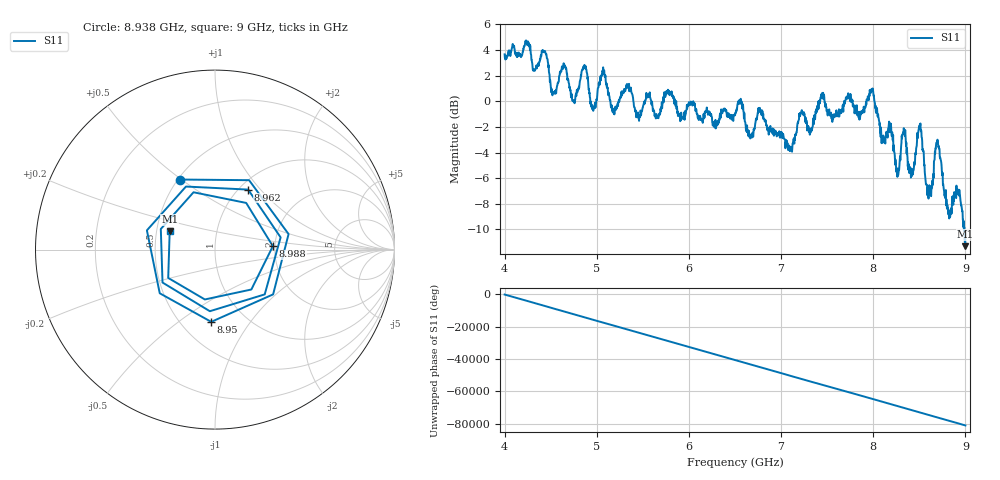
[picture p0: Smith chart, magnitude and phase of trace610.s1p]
! Created with skrf 1.8.0 (http://scikit-rf.org).
# Hz S RI R 50.0
!freq ReS11 ImS11
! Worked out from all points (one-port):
!   1601 points, 4 GHz to 9 GHz, reference 50 ohm
!   lowest |S11| = -11.3 dB at 9 GHz (marker M1), VSWR 1.75, Z = 29.3 + j6.44 ohm
!   |S11| at or under -10 dB: 8.983616 GHz to 8.98538 GHz (1.763 MHz wide, 0.0196 % of centre); 8.988885 GHz to end of sweep
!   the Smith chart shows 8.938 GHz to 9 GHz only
!   S11 on the Smith chart (normalised r, x): 8.938 GHz: 0.51, +0.50; 8.95 GHz: 0.70, -0.67; 8.962 GHz: 1.10, +0.86; 8.988 GHz: 1.95, +0.08; 9 GHz: 0.59, +0.13
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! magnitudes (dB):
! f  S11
! 4 GHz  3.7
! 4.428 GHz  3.9
! 4.528 GHz  0.7
! 4.625 GHz  2.7
! 4.744 GHz  0.0
! 4.862 GHz  2.6
! 4.962 GHz  -0.7
! 5.062 GHz  2.4
! 5.25 GHz  0.2
! 5.875 GHz  -0.9
! 6.5 GHz  -1.1
! 7.125 GHz  -3.3
! 7.222 GHz  -0.8
! 7.75 GHz  0.0
! 7.988 GHz  0.9
! 8.259 GHz  -5.7
! 8.328 GHz  -2.5
! 8.375 GHz  -5.1
! 8.428 GHz  -5.3
! 8.503 GHz  -2.0
! 8.597 GHz  -7.4
! 8.694 GHz  -3.2
! 8.816 GHz  -8.8
! 8.938 GHz  -7.2
! 8.95 GHz  -7.9
! 8.962 GHz  -8.4
! 8.988 GHz  -9.8
! 9 GHz  -11.3
